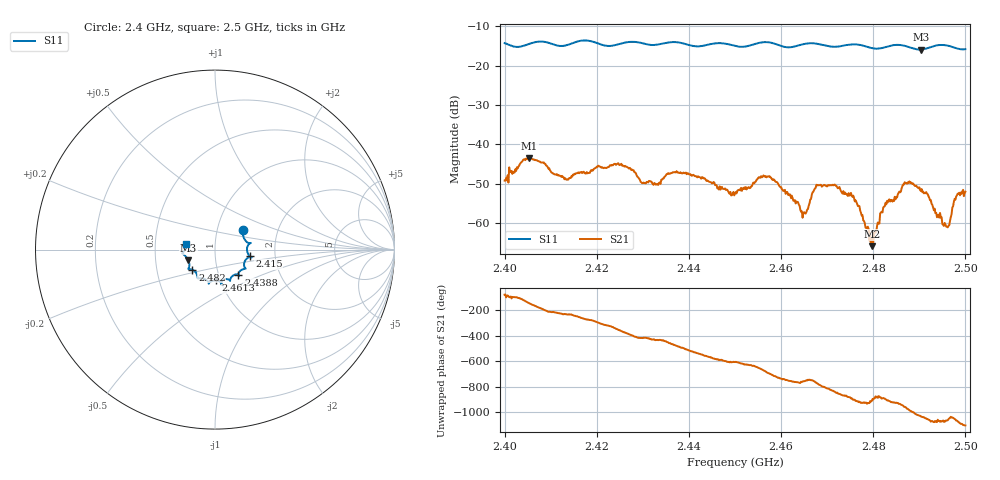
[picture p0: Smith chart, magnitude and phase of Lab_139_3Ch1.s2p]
# Hz S RI R 50
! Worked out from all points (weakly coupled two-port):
!   601 points, 2.4 GHz to 2.5 GHz, reference 50 ohm
!   highest |S21| = -43.60 dB at 2.4053 GHz (marker M1); lowest = -65.9 dB at 2.4798 GHz (marker M2)
!   lowest |S11| = -15.9 dB at 2.4903 GHz (marker M3), VSWR 1.38, Z = 36.8 - j4.47 ohm
!   |S11| at or under -10 dB: start of sweep to end of sweep
!   S12 and S22 are empty: the file has one direction only
!   S11 on the Smith chart (normalised r, x): 2.4 GHz: 1.33, +0.31; 2.415 GHz: 1.47, -0.11; 2.4388 GHz: 1.24, -0.36; 2.4613 GHz: 0.96, -0.34; 2.482 GHz: 0.76, -0.17; 2.5 GHz: 0.72, +0.05
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2.4e9  0.1579 0.1119  0.000707 -0.00337  0 0  0 0
2.405333e9  0.1856 0.0372  -0.0054 -0.00381  0 0  0 0
2.415e9  0.1923 -0.0359  -0.00187 0.00361  0 0  0 0
2.416667e9  0.2036 -0.0439  -0.000674 0.00439  0 0  0 0
2.424833e9  0.1634 -0.0943  0.00547 0.00041  0 0  0 0
2.433333e9  0.1322 -0.1314  0.000776 -0.00293  0 0  0 0
2.438833e9  0.13 -0.1406  -0.00325 -0.00292  0 0  0 0
2.45e9  0.069 -0.1648  -0.000926 0.00218  0 0  0 0
2.456167e9  0.0373 -0.1954  0.00266 0.00301  0 0  0 0
2.461333e9  0.00725 -0.1713  0.00216 -0.0012  0 0  0 0
2.464833e9  -0.0328 -0.1849  0.00104 -0.000848  0 0  0 0
2.466667e9  -0.0349 -0.19  0.002 -0.00111  0 0  0 0
2.468167e9  -0.0347 -0.1853  0.00133 -0.00269  0 0  0 0
2.475167e9  -0.0935 -0.161  -0.00239 -0.000285  0 0  0 0
2.479833e9  -0.1054 -0.1292  -0.000504 -2.32e-05  0 0  0 0
2.482e9  -0.1258 -0.1116  -0.00134 -0.000196  0 0  0 0
2.483333e9  -0.1396 -0.1087  -0.0019 0.000373  0 0  0 0
2.487333e9  -0.1448 -0.0993  -0.000934 0.003  0 0  0 0
2.490333e9  -0.149 -0.0592  0.00176 0.00184  0 0  0 0
2.495833e9  -0.1806 -0.0179  0.000876 0.000197  0 0  0 0
2.498e9  -0.1669 -0.000432  0.0021 0.000525  0 0  0 0
2.5e9  -0.1588 0.0327  0.00226 -0.00105  0 0  0 0
